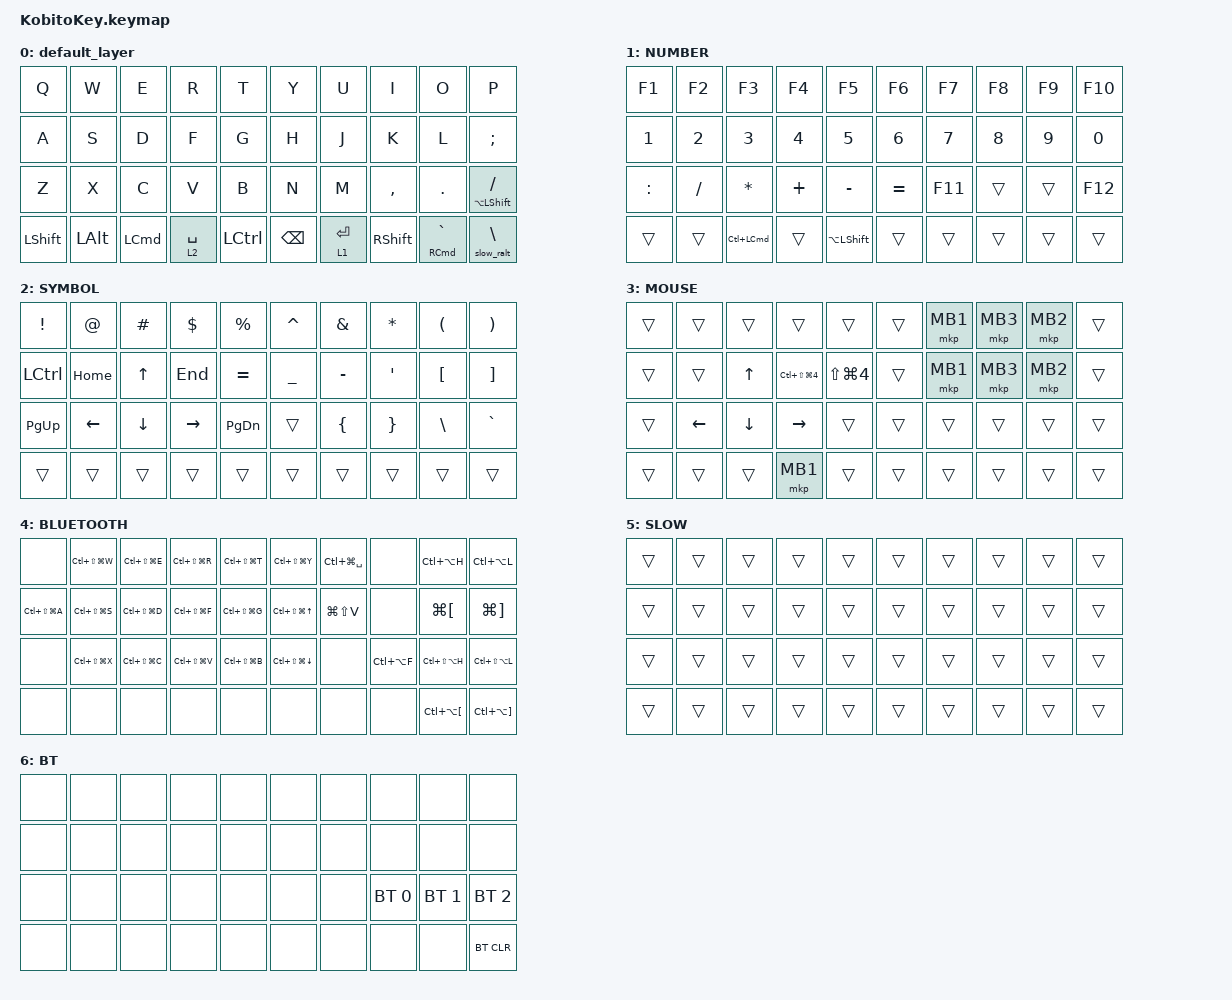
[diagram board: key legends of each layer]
#include <input/processors.dtsi>
#include <behaviors.dtsi>
#include <dt-bindings/zmk/bt.h>
#include <dt-bindings/zmk/keys.h>
#include <dt-bindings/zmk/pointing.h>

/ {
    combos {
        compatible = "zmk,combos";

        combo_eisu {
            timeout-ms = <50>;
            key-positions = <12 13>;
            bindings = <&kp LANG2>;
        };

        combo_kana {
            timeout-ms = <50>;
            key-positions = <16 17>;
            bindings = <&kp LANG1>;
        };

        combo_esc {
            timeout-ms = <50>;
            key-positions = <0 1>;
            bindings = <&kp ESC>;
        };

        combo_tab {
            timeout-ms = <50>;
            key-positions = <10 11>;
            bindings = <&kp TAB>;
        };

        // Z＋X ＝ Shift＋Tab（レイヤー0 だけ）
        combo_shift_tab {
            timeout-ms = <50>;
            key-positions = <20 21>;
            bindings = <&kp LS(TAB)>;
            layers = <0>;
        };

        // V＋B を同時に押している間だけ BT レイヤー（6）
        // 文字を打っている途中（直前 150ms 以内にキー入力あり）では入らない。"obvious" などの b→v で誤って入るのを防ぐ
        combo_bt {
            timeout-ms = <50>;
            require-prior-idle-ms = <150>;
            key-positions = <23 24>;
            bindings = <&mo 6>;
        };
    };

    macros {
        // 右Option を押している間だけ SLOW レイヤー（5）も入れて、トラックボールを遅くする
        // ht_slow_ralt の長押し側から呼ぶため1引数の形にしている（引数は使わない）
        slow_ralt: slow_ralt {
            compatible = "zmk,behavior-macro-one-param";
            #binding-cells = <1>;
            wait-ms = <0>;
            tap-ms = <0>;
            bindings
                = <&macro_press &mo 5 &kp RALT>
                , <&macro_pause_for_release>
                , <&macro_release &kp RALT &mo 5>;
        };
    };

    behaviors {
        // &mt RALT と同じ動き（短く押すと文字、長押しで右Option）で、長押し中はトラックボールが遅くなる
        ht_slow_ralt: ht_slow_ralt {
            compatible = "zmk,behavior-hold-tap";
            #binding-cells = <2>;
            flavor = "hold-preferred";
            tapping-term-ms = <200>;
            bindings = <&slow_ralt>, <&kp>;
        };
    };

    conditional_layers {
        compatible = "zmk,conditional-layers";

        bluetooth_layer {
            if-layers = <1 2>;
            then-layer = <4>;
        };
    };

    keymap {
        compatible = "zmk,keymap";

        default_layer {
            bindings = <
&kp Q      &kp W     &kp E     &kp R        &kp T      &kp Y          &kp U        &kp I      &kp O            &kp P
&kp A      &kp S     &kp D     &kp F        &kp G      &kp H          &kp J        &kp K      &kp L            &kp SEMI
&kp Z      &kp X     &kp C     &kp V        &kp B      &kp N          &kp M        &kp COMMA  &kp DOT          &mt LA(LSHFT) SLASH
&kp LSHFT  &kp LALT  &kp LCMD  &lt 2 SPACE  &kp LCTRL  &kp BSPC       &lt 1 ENTER  &kp RSHFT  &mt RCMD GRAVE    &ht_slow_ralt 0 BSLH
            >;
        };

        layer1 {
            label = "NUMBER";
            bindings = <
&kp F1  &kp F2     &kp F3     &kp F4     &kp F5     &kp F6     &kp F7   &kp F8  &kp F9  &kp F10
&kp N1  &kp N2     &kp N3     &kp N4     &kp N5     &kp N6     &kp N7   &kp N8  &kp N9  &kp N0
&kp COLON &kp SLASH  &kp ASTRK  &kp PLUS   &kp MINUS  &kp EQUAL  &kp F11  &trans  &trans  &kp F12
&trans  &trans     &kp LC(LCMD)  &trans     &kp LA(LSHFT)  &trans     &trans   &trans  &trans  &trans
            >;
        };

        layer2 {
            label = "SYMBOL";
            bindings = <
&kp EXCL   &kp AT    &kp HASH  &kp DOLLAR  &kp PRCNT  &kp CARET  &kp AMPS   &kp ASTRK  &kp LPAR  &kp RPAR
&kp LCTRL  &kp HOME  &kp UP    &kp END     &kp EQUAL  &kp UNDER  &kp MINUS  &kp SQT    &kp LBKT  &kp RBKT
&kp PG_UP  &kp LEFT  &kp DOWN  &kp RIGHT   &kp PG_DN  &trans     &kp LBRC   &kp RBRC   &kp BSLH  &kp GRAVE
&trans     &trans    &trans    &trans      &trans     &trans     &trans     &trans     &trans    &trans
            >;
        };

        layer3 {
            label = "MOUSE";
            bindings = <
&trans     &trans    &trans    &trans              &trans          &trans  &mkp MB1  &mkp MB3  &mkp MB2  &trans
&trans     &trans    &kp UP    &kp LC(LS(LG(N4)))  &kp LS(LG(N4))  &trans  &mkp MB1  &mkp MB3  &mkp MB2  &trans
&trans     &kp LEFT  &kp DOWN  &kp RIGHT           &trans          &trans  &trans    &trans    &trans    &trans
&trans     &trans  &trans  &mkp MB1            &trans          &trans  &trans    &trans    &trans    &trans
            >;
        };

        layer4 {
            label = "BLUETOOTH";
            bindings = <
&none              &kp LC(LS(LG(W)))  &kp LC(LS(LG(E)))  &kp LC(LS(LG(R)))  &kp LC(LS(LG(T)))  &kp LC(LS(LG(Y)))     &kp LC(LG(SPACE))   &none         &kp LC(LA(H))  &kp LC(LA(L))
&kp LC(LS(LG(A)))  &kp LC(LS(LG(S)))  &kp LC(LS(LG(D)))  &kp LC(LS(LG(F)))  &kp LC(LS(LG(G)))  &kp LC(LS(LG(UP)))    &kp LG(LS(V))      &none         &kp LG(LBKT)  &kp LG(RBKT)
&none              &kp LC(LS(LG(X)))  &kp LC(LS(LG(C)))  &kp LC(LS(LG(V)))  &kp LC(LS(LG(B)))  &kp LC(LS(LG(DOWN)))  &none  &kp LC(LA(F))  &kp LC(LS(LA(H)))  &kp LC(LS(LA(L)))
&none              &none              &none              &none              &none              &none                 &none  &none         &kp LC(LA(LBKT))  &kp LC(LA(RBKT))
            >;
        };

        layer5 {
            label = "SLOW";
            bindings = <
&trans  &trans  &trans  &trans  &trans  &trans  &trans  &trans  &trans  &trans
&trans  &trans  &trans  &trans  &trans  &trans  &trans  &trans  &trans  &trans
&trans  &trans  &trans  &trans  &trans  &trans  &trans  &trans  &trans  &trans
&trans  &trans  &trans  &trans  &trans  &trans  &trans  &trans  &trans  &trans
            >;
        };

        layer6 {
            label = "BT";
            bindings = <
&none  &none  &none  &none  &none  &none  &none  &none         &none         &none
&none  &none  &none  &none  &none  &none  &none  &none         &none         &none
&none  &none  &none  &none  &none  &none  &none  &bt BT_SEL 0  &bt BT_SEL 1  &bt BT_SEL 2
&none  &none  &none  &none  &none  &none  &none  &none         &none         &bt BT_CLR
            >;
        };
    };
};
